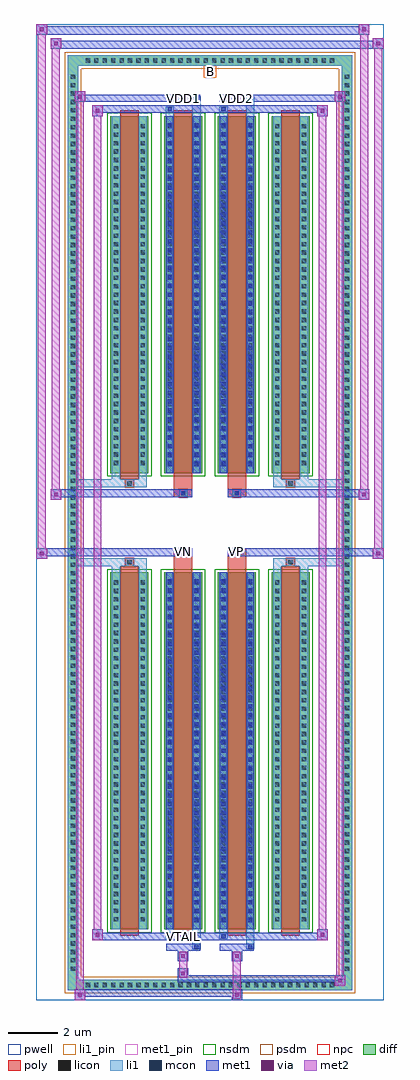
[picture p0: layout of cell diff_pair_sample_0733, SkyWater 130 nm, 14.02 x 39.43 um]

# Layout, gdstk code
import gdstk
lib = gdstk.Library(unit=1e-6, precision=5e-09)
def R(c, l, rs):  # rectangles x0, y0, x1, y1
    for r in rs: c.add(gdstk.rectangle(r[:2], r[2:], *l))
def A(c, l, x, y, w, h, nx, ny, dx, dy):  # array of equal rectangles
    R(c, l, [(x+i*dx, y+j*dy, x+i*dx+w, y+j*dy+h) for i in range(nx) for j in range(ny)])
def P(c, l, *ps):  # polygons
    for p in ps: c.add(gdstk.Polygon(p, *l))
pwell = (64, 44)
diff = (65, 20)
poly = (66, 20)
licon = (66, 44)
li1_pin = (67, 16)
li1 = (67, 20)
mcon = (67, 44)
met1_pin = (68, 16)
met1 = (68, 20)
via = (68, 44)
met2 = (69, 20)
nsdm = (93, 44)
psdm = (94, 20)
npc = (95, 20)

diff_pair_sample_0733 = lib.new_cell('diff_pair_sample_0733')
R(diff_pair_sample_0733, pwell, [(-7.01,-19.28,7.01,20.15), (-4.33,-17.47,-0.01,-0.825), (0.01,-17.47,4.33,-0.825), (-4.33,0.825,-0.01,17.47), (0.01,0.825,4.33,17.47)])
A(diff_pair_sample_0733, diff, -5.135, -18.88, 0.41, 0.41, 30, 2, 0.34, 37.35)
A(diff_pair_sample_0733, diff, -5.74, -18.225, 0.41, 0.41, 1, 107, 0, 0.34)
A(diff_pair_sample_0733, diff, 5.33, -18.225, 0.41, 0.41, 1, 107, 0, 0.34)
A(diff_pair_sample_0733, diff, -4.02, -16.425, 1.53, 14.42, 4, 2, 2.17, 18.43)
R(diff_pair_sample_0733, diff, [(-5.135,-18.88,5.135,-18.47), (-5.74,-18.225,-5.33,18.225), (5.33,-18.225,5.74,18.225), (-5.135,18.47,5.135,18.88)])
P(diff_pair_sample_0733, diff, [(5.74,18.88),(-5.74,18.88),(-5.74,-18.47),(-5.33,-18.47),(-5.33,18.47),(5.33,18.47),(5.33,-18.47),(-5.33,-18.47),(-5.74,-18.47),(-5.74,-18.88),(5.74,-18.88)])
A(diff_pair_sample_0733, poly, -3.63, -16.675, 0.75, 14.92, 4, 2, 2.17, 18.43)
R(diff_pair_sample_0733, poly, [(-3.42,-1.755,-3.09,-1.425), (-3.42,-1.755,-3.09,-1.425), (-1.46,-1.755,-0.71,-1.355), (0.71,-1.755,1.46,-1.355), (3.09,-1.755,3.42,-1.425), (3.09,-1.755,3.42,-1.425), (-1.46,-1.355,-0.71,-1.025), (-1.25,-1.355,-0.92,-1.025), (0.71,-1.355,1.46,-1.025), (0.92,-1.355,1.25,-1.025), (-1.46,1.025,-0.71,1.355), (-1.25,1.025,-0.92,1.355), (0.71,1.025,1.46,1.355), (0.92,1.025,1.25,1.355), (-1.46,1.355,-0.71,1.755), (0.71,1.355,1.46,1.755), (-3.42,1.425,-3.09,1.755), (-3.42,1.425,-3.09,1.755), (3.09,1.425,3.42,1.755), (3.09,1.425,3.42,1.755)])
A(diff_pair_sample_0733, licon, -5.015, -18.76, 0.17, 0.17, 30, 2, 0.34, 37.35)
A(diff_pair_sample_0733, licon, -5.62, -18.105, 0.17, 0.17, 1, 107, 0, 0.34)
A(diff_pair_sample_0733, licon, 5.45, -18.105, 0.17, 0.17, 1, 107, 0, 0.34)
A(diff_pair_sample_0733, licon, -3.88, -16.1, 0.17, 0.17, 1, 41, 0, 0.34)
A(diff_pair_sample_0733, licon, -2.8, -16.1, 0.17, 0.17, 1, 41, 0, 0.34)
A(diff_pair_sample_0733, licon, -1.71, -16.1, 0.17, 0.17, 1, 41, 0, 0.34)
A(diff_pair_sample_0733, licon, -0.63, -16.1, 0.17, 0.17, 1, 41, 0, 0.34)
A(diff_pair_sample_0733, licon, 0.46, -16.1, 0.17, 0.17, 1, 41, 0, 0.34)
A(diff_pair_sample_0733, licon, 1.54, -16.1, 0.17, 0.17, 1, 41, 0, 0.34)
A(diff_pair_sample_0733, licon, 2.63, -16.1, 0.17, 0.17, 1, 41, 0, 0.34)
A(diff_pair_sample_0733, licon, 3.71, -16.1, 0.17, 0.17, 1, 41, 0, 0.34)
A(diff_pair_sample_0733, licon, -3.88, 2.33, 0.17, 0.17, 1, 41, 0, 0.34)
A(diff_pair_sample_0733, licon, -2.8, 2.33, 0.17, 0.17, 1, 41, 0, 0.34)
A(diff_pair_sample_0733, licon, -1.71, 2.33, 0.17, 0.17, 1, 41, 0, 0.34)
A(diff_pair_sample_0733, licon, -0.63, 2.33, 0.17, 0.17, 1, 41, 0, 0.34)
A(diff_pair_sample_0733, licon, 0.46, 2.33, 0.17, 0.17, 1, 41, 0, 0.34)
A(diff_pair_sample_0733, licon, 1.54, 2.33, 0.17, 0.17, 1, 41, 0, 0.34)
A(diff_pair_sample_0733, licon, 2.63, 2.33, 0.17, 0.17, 1, 41, 0, 0.34)
A(diff_pair_sample_0733, licon, 3.71, 2.33, 0.17, 0.17, 1, 41, 0, 0.34)
R(diff_pair_sample_0733, licon, [(-3.34,-1.675,-3.17,-1.505), (3.17,-1.675,3.34,-1.505), (-1.17,-1.275,-1,-1.105), (1,-1.275,1.17,-1.105), (-1.17,1.105,-1,1.275), (1,1.105,1.17,1.275), (-3.34,1.505,-3.17,1.675), (3.17,1.505,3.34,1.675)])
R(diff_pair_sample_0733, li1_pin, [(-0.25,17.97,0.25,18.47)])
A(diff_pair_sample_0733, li1, -5.095, -18.84, 0.33, 0.33, 30, 2, 0.34, 37.35)
A(diff_pair_sample_0733, li1, -5.7, -18.185, 0.33, 0.33, 1, 107, 0, 0.34)
A(diff_pair_sample_0733, li1, 5.37, -18.185, 0.33, 0.33, 1, 107, 0, 0.34)
A(diff_pair_sample_0733, li1, -3.96, -16.18, 0.33, 0.33, 1, 41, 0, 0.34)
A(diff_pair_sample_0733, li1, -2.88, -16.18, 0.33, 0.33, 1, 41, 0, 0.34)
A(diff_pair_sample_0733, li1, -1.79, -16.18, 0.33, 0.33, 1, 41, 0, 0.34)
A(diff_pair_sample_0733, li1, -0.71, -16.18, 0.33, 0.33, 1, 41, 0, 0.34)
A(diff_pair_sample_0733, li1, 0.38, -16.18, 0.33, 0.33, 1, 41, 0, 0.34)
A(diff_pair_sample_0733, li1, 1.46, -16.18, 0.33, 0.33, 1, 41, 0, 0.34)
A(diff_pair_sample_0733, li1, 2.55, -16.18, 0.33, 0.33, 1, 41, 0, 0.34)
A(diff_pair_sample_0733, li1, 3.63, -16.18, 0.33, 0.33, 1, 41, 0, 0.34)
A(diff_pair_sample_0733, li1, -1.71, -16.14, 0.17, 0.17, 1, 39, 0, 0.36)
A(diff_pair_sample_0733, li1, -0.63, -16.14, 0.17, 0.17, 1, 39, 0, 0.36)
A(diff_pair_sample_0733, li1, 0.46, -16.14, 0.17, 0.17, 1, 39, 0, 0.36)
A(diff_pair_sample_0733, li1, 1.54, -16.14, 0.17, 0.17, 1, 39, 0, 0.36)
A(diff_pair_sample_0733, li1, -3.96, 2.25, 0.33, 0.33, 1, 41, 0, 0.34)
A(diff_pair_sample_0733, li1, -2.88, 2.25, 0.33, 0.33, 1, 41, 0, 0.34)
A(diff_pair_sample_0733, li1, -1.79, 2.25, 0.33, 0.33, 1, 41, 0, 0.34)
A(diff_pair_sample_0733, li1, -0.71, 2.25, 0.33, 0.33, 1, 41, 0, 0.34)
A(diff_pair_sample_0733, li1, 0.38, 2.25, 0.33, 0.33, 1, 41, 0, 0.34)
A(diff_pair_sample_0733, li1, 1.46, 2.25, 0.33, 0.33, 1, 41, 0, 0.34)
A(diff_pair_sample_0733, li1, 2.55, 2.25, 0.33, 0.33, 1, 41, 0, 0.34)
A(diff_pair_sample_0733, li1, 3.63, 2.25, 0.33, 0.33, 1, 41, 0, 0.34)
A(diff_pair_sample_0733, li1, -1.71, 2.29, 0.17, 0.17, 1, 39, 0, 0.36)
A(diff_pair_sample_0733, li1, -0.63, 2.29, 0.17, 0.17, 1, 39, 0, 0.36)
A(diff_pair_sample_0733, li1, 0.46, 2.29, 0.17, 0.17, 1, 39, 0, 0.36)
A(diff_pair_sample_0733, li1, 1.54, 2.29, 0.17, 0.17, 1, 39, 0, 0.36)
R(diff_pair_sample_0733, li1, [(-5.74,-18.88,-5.33,-18.47), (-5.74,-18.88,-5.33,-18.47), (-5.33,-18.88,5.33,-18.47), (5.33,-18.88,5.74,-18.47), (5.33,-18.88,5.74,-18.47), (-5.74,-18.47,-5.33,18.47), (5.33,-18.47,5.74,18.47), (-0.71,-17.23,-0.38,-16.425), (-0.63,-17.23,-0.46,-17.06), (1.46,-17.23,1.79,-16.425), (1.54,-17.23,1.71,-17.06), (-1.79,-16.8,-1.46,-16.425), (-1.71,-16.8,-1.54,-16.63), (0.38,-16.8,0.71,-16.425), (0.46,-16.8,0.63,-16.63), (-3.96,-16.425,-3.63,-2.005), (-2.88,-16.425,-2.55,-2.005), (-1.79,-16.425,-1.46,-2.005), (-0.71,-16.425,-0.38,-2.005), (0.38,-16.425,0.71,-2.005), (1.46,-16.425,1.79,-2.005), (2.55,-16.425,2.88,-2.005), (3.63,-16.425,3.96,-2.005), (-1.71,-16.14,-1.54,-2.29), (-0.63,-16.14,-0.46,-2.29), (0.46,-16.14,0.63,-2.29), (1.54,-16.14,1.71,-2.29), (-3.96,-2.005,-3.63,-1.425), (-2.88,-2.005,-2.55,-1.425), (2.55,-2.005,2.88,-1.425), (3.63,-2.005,3.96,-1.425), (-5.74,-1.755,-3.42,-1.425), (-3.96,-1.755,-3.42,-1.425), (-3.42,-1.755,-3.09,-1.425), (-3.09,-1.755,-2.55,-1.425), (2.55,-1.755,3.09,-1.425), (3.09,-1.755,3.42,-1.425), (3.09,-1.755,5.74,-1.425), (3.42,-1.755,3.96,-1.425), (-1.25,-1.355,-0.92,-1.025), (0.92,-1.355,1.25,-1.025), (-1.25,1.025,-0.92,1.355), (0.92,1.025,1.25,1.355), (-5.74,1.425,-3.42,1.755), (-3.96,1.425,-3.42,1.755), (-3.96,1.425,-3.63,2.005), (-3.42,1.425,-3.09,1.755), (-3.09,1.425,-2.55,1.755), (-2.88,1.425,-2.55,2.005), (2.55,1.425,3.09,1.755), (2.55,1.425,2.88,2.005), (3.09,1.425,3.42,1.755), (3.09,1.425,5.74,1.755), (3.42,1.425,3.96,1.755), (3.63,1.425,3.96,2.005), (-3.96,2.005,-3.63,16.425), (-2.88,2.005,-2.55,16.425), (-1.79,2.005,-1.46,16.425), (-0.71,2.005,-0.38,16.425), (0.38,2.005,0.71,16.425), (1.46,2.005,1.79,16.425), (2.55,2.005,2.88,16.425), (3.63,2.005,3.96,16.425), (-1.71,2.29,-1.54,16.14), (-0.63,2.29,-0.46,16.14), (0.46,2.29,0.63,16.14), (1.54,2.29,1.71,16.14), (-1.79,16.425,-1.46,16.8), (-0.71,16.425,-0.38,17.23), (0.38,16.425,0.71,16.8), (1.46,16.425,1.79,17.23), (-1.71,16.63,-1.54,16.8), (0.46,16.63,0.63,16.8), (-0.63,17.06,-0.46,17.23), (1.54,17.06,1.71,17.23), (-5.74,18.47,-5.33,18.88), (-5.74,18.47,-5.33,18.88), (-5.33,18.47,5.33,18.88), (5.33,18.47,5.74,18.88), (5.33,18.47,5.74,18.88)])
A(diff_pair_sample_0733, mcon, -1.71, -16.14, 0.17, 0.17, 1, 39, 0, 0.36)
A(diff_pair_sample_0733, mcon, -0.63, -16.14, 0.17, 0.17, 1, 39, 0, 0.36)
A(diff_pair_sample_0733, mcon, 0.46, -16.14, 0.17, 0.17, 1, 39, 0, 0.36)
A(diff_pair_sample_0733, mcon, 1.54, -16.14, 0.17, 0.17, 1, 39, 0, 0.36)
A(diff_pair_sample_0733, mcon, -1.71, 2.29, 0.17, 0.17, 1, 39, 0, 0.36)
A(diff_pair_sample_0733, mcon, -0.63, 2.29, 0.17, 0.17, 1, 39, 0, 0.36)
A(diff_pair_sample_0733, mcon, 0.46, 2.29, 0.17, 0.17, 1, 39, 0, 0.36)
A(diff_pair_sample_0733, mcon, 1.54, 2.29, 0.17, 0.17, 1, 39, 0, 0.36)
R(diff_pair_sample_0733, mcon, [(-0.63,-17.23,-0.46,-17.06), (1.54,-17.23,1.71,-17.06), (-1.71,-16.8,-1.54,-16.63), (0.46,-16.8,0.63,-16.63), (-1.17,-1.275,-1,-1.105), (1,-1.275,1.17,-1.105), (-1.17,1.105,-1,1.275), (1,1.105,1.17,1.275), (-1.71,16.63,-1.54,16.8), (0.46,16.63,0.63,16.8), (-0.63,17.06,-0.46,17.23), (1.54,17.06,1.71,17.23)])
R(diff_pair_sample_0733, met1_pin, [(-1.22,-16.84,-0.95,-16.57), (-1.22,-1.295,-0.95,-1.025), (0.95,-1.295,1.22,-1.025), (-1.22,17.02,-0.95,17.29), (0.95,17.02,1.22,17.29)])
A(diff_pair_sample_0733, met1, -1.77, -16.2, 0.29, 0.29, 1, 39, 0, 0.36)
A(diff_pair_sample_0733, met1, -0.69, -16.2, 0.29, 0.29, 1, 39, 0, 0.36)
A(diff_pair_sample_0733, met1, 0.4, -16.2, 0.29, 0.29, 1, 39, 0, 0.36)
A(diff_pair_sample_0733, met1, 1.48, -16.2, 0.29, 0.29, 1, 39, 0, 0.36)
A(diff_pair_sample_0733, met1, -1.77, 2.23, 0.29, 0.29, 1, 39, 0, 0.36)
A(diff_pair_sample_0733, met1, -0.69, 2.23, 0.29, 0.29, 1, 39, 0, 0.36)
A(diff_pair_sample_0733, met1, 0.4, 2.23, 0.29, 0.29, 1, 39, 0, 0.36)
A(diff_pair_sample_0733, met1, 1.48, 2.23, 0.29, 0.29, 1, 39, 0, 0.36)
R(diff_pair_sample_0733, met1, [(-5.47,-19.28,-5.04,-18.85), (0.87,-19.28,1.3,-18.85), (-5.47,-19.14,1.3,-18.85), (5.04,-18.71,5.47,-18.28), (-1.3,-18.57,5.47,-18.28), (-1.3,-18.43,-0.87,-18), (-1.3,-17.72,-0.87,-17.29), (0.87,-17.72,1.3,-17.29), (-1.77,-17.29,-0.4,-17), (-0.69,-17.29,-0.4,-17), (0.4,-17.29,1.77,-17), (1.48,-17.29,1.77,-17), (-4.76,-16.86,-4.33,-16.43), (-4.76,-16.86,-1.77,-16.57), (-1.77,-16.86,-1.48,-16.57), (-1.77,-16.86,-0.4,-16.57), (-0.4,-16.86,0.4,-16.57), (0.4,-16.86,0.69,-16.57), (0.4,-16.86,1.77,-16.57), (1.77,-16.86,4.76,-16.57), (4.33,-16.86,4.76,-16.43), (-1.77,-16.425,-1.48,-2.005), (-0.69,-16.425,-0.4,-2.005), (0.4,-16.425,0.69,-2.005), (1.48,-16.425,1.77,-2.005), (-7.01,-1.455,-6.58,-1.025), (6.58,-1.455,7.01,-1.025), (-7.01,-1.355,-0.71,-1.025), (-1.46,-1.355,-0.71,-1.025), (0.71,-1.355,1.46,-1.025), (0.71,-1.355,7.01,-1.025), (-1.23,-1.335,-0.94,-1.045), (0.94,-1.335,1.23,-1.045), (-6.44,0.925,-6.01,1.355), (6.01,0.925,6.44,1.355), (-6.44,1.025,-1.46,1.355), (-1.46,1.025,-0.71,1.355), (0.71,1.025,1.46,1.355), (1.46,1.025,6.44,1.355), (-1.23,1.045,-0.94,1.335), (0.94,1.045,1.23,1.335), (-1.77,2.005,-1.48,16.425), (-0.69,2.005,-0.4,16.425), (0.4,2.005,0.69,16.425), (1.48,2.005,1.77,16.425), (-4.76,16.43,-4.33,16.86), (4.33,16.43,4.76,16.86), (-4.76,16.57,-1.77,16.86), (-1.77,16.57,-1.48,16.86), (-1.77,16.57,-0.4,16.86), (-0.4,16.57,0.4,16.86), (0.4,16.57,0.69,16.86), (0.4,16.57,1.77,16.86), (1.77,16.57,4.76,16.86), (-5.47,17,-5.04,17.43), (-5.47,17,-1.77,17.29), (-1.77,17,-0.4,17.29), (-0.69,17,-0.4,17.29), (0.4,17,1.77,17.29), (1.48,17,1.77,17.29), (1.77,17,5.47,17.29), (5.04,17,5.47,17.43), (-6.44,19.15,-6.01,19.58), (-6.44,19.15,-4.33,19.48), (-4.33,19.15,4.33,19.48), (4.33,19.15,7.01,19.48), (6.58,19.15,7.01,19.58), (-7.01,19.72,-6.58,20.15), (-7.01,19.72,-4.33,20.05), (-4.33,19.72,4.33,20.05), (4.33,19.72,6.44,20.05), (6.01,19.72,6.44,20.15)])
R(diff_pair_sample_0733, via, [(-5.33,-19.14,-5.18,-18.99), (1.01,-19.14,1.16,-18.99), (5.18,-18.57,5.33,-18.42), (-1.16,-18.29,-1.01,-18.14), (-1.16,-17.58,-1.01,-17.43), (1.01,-17.58,1.16,-17.43), (-4.62,-16.72,-4.47,-16.57), (4.47,-16.72,4.62,-16.57), (-6.87,-1.315,-6.72,-1.165), (6.72,-1.315,6.87,-1.165), (-6.3,1.065,-6.15,1.215), (6.15,1.065,6.3,1.215), (-4.62,16.57,-4.47,16.72), (4.47,16.57,4.62,16.72), (-5.33,17.14,-5.18,17.29), (5.18,17.14,5.33,17.29), (-6.3,19.29,-6.15,19.44), (6.72,19.29,6.87,19.44), (-6.87,19.86,-6.72,20.01), (6.15,19.86,6.3,20.01)])
R(diff_pair_sample_0733, met2, [(-5.47,-19.28,-5.04,-18.85), (-5.4,-19.28,-5.11,17.43), (-5.11,-19.28,-5.04,-18.85), (-5.42,-19.23,-5.09,-18.9), (0.92,-19.23,1.25,-18.9), (0.92,-18.9,1.25,-17.67), (5.04,-18.71,5.47,-18.28), (5.11,-18.71,5.4,17.43), (5.4,-18.71,5.47,-18.28), (5.09,-18.66,5.42,-18.33), (-1.25,-18.38,-0.92,-18.05), (-1.25,-18.05,-0.92,-17.67), (-1.25,-17.67,-0.92,-17.34), (0.92,-17.67,1.25,-17.34), (-4.76,-16.86,-4.33,-16.43), (-4.69,-16.86,-4.4,16.86), (-4.4,-16.86,-4.33,-16.43), (4.33,-16.86,4.76,-16.43), (4.4,-16.86,4.69,16.86), (4.69,-16.86,4.76,-16.43), (-4.71,-16.81,-4.38,-16.48), (4.38,-16.81,4.71,-16.48), (-7.01,-1.455,-6.58,-1.025), (-6.96,-1.455,-6.63,20.15), (-6.63,-1.455,-6.58,-1.025), (6.58,-1.455,7.01,-1.025), (6.63,-1.455,6.96,19.58), (6.96,-1.455,7.01,-1.025), (-6.96,-1.405,-6.63,-1.075), (6.63,-1.405,6.96,-1.075), (-6.44,0.925,-6.01,1.355), (-6.39,0.925,-6.06,19.58), (-6.06,0.925,-6.01,1.355), (6.01,0.925,6.44,1.355), (6.06,0.925,6.39,20.15), (6.39,0.925,6.44,1.355), (-6.39,0.975,-6.06,1.305), (6.06,0.975,6.39,1.305), (-4.76,16.43,-4.33,16.86), (-4.4,16.43,-4.33,16.86), (4.33,16.43,4.76,16.86), (4.69,16.43,4.76,16.86), (-4.71,16.48,-4.38,16.81), (4.38,16.48,4.71,16.81), (-5.47,17,-5.04,17.43), (-5.11,17,-5.04,17.43), (5.04,17,5.47,17.43), (5.4,17,5.47,17.43), (-5.42,17.05,-5.09,17.38), (5.09,17.05,5.42,17.38), (-6.44,19.15,-6.01,19.58), (-6.06,19.15,-6.01,19.58), (6.58,19.15,7.01,19.58), (6.96,19.15,7.01,19.58), (-6.39,19.2,-6.06,19.53), (6.63,19.2,6.96,19.53), (-7.01,19.72,-6.58,20.15), (-6.63,19.72,-6.58,20.15), (6.01,19.72,6.44,20.15), (6.39,19.72,6.44,20.15), (-6.96,19.77,-6.63,20.1), (6.06,19.77,6.39,20.1)])
A(diff_pair_sample_0733, nsdm, -4.15, -16.555, 1.79, 14.68, 4, 2, 2.17, 18.43)
P(diff_pair_sample_0733, psdm, [(5.87,19.01),(-5.87,19.01),(-5.87,-18.34),(-5.2,-18.34),(-5.2,18.34),(5.2,18.34),(5.2,-18.34),(-5.2,-18.34),(-5.87,-18.34),(-5.87,-19.01),(5.87,-19.01)])
R(diff_pair_sample_0733, npc, [(-3.44,-1.775,-3.07,-1.405), (3.07,-1.775,3.44,-1.405), (-1.27,-1.375,-0.9,-1.005), (0.9,-1.375,1.27,-1.005), (-1.27,1.005,-0.9,1.375), (0.9,1.005,1.27,1.375), (-3.44,1.405,-3.07,1.775), (3.07,1.405,3.44,1.775)])
diff_pair_sample_0733.add(gdstk.Label('VTAIL', (-1.085,-16.705), layer=68, texttype=5))
diff_pair_sample_0733.add(gdstk.Label('VN', (-1.085,-1.16), layer=68, texttype=5))
diff_pair_sample_0733.add(gdstk.Label('VP', (1.085,-1.16), layer=68, texttype=5))
diff_pair_sample_0733.add(gdstk.Label('B', (0,18.22), layer=67, texttype=5))
diff_pair_sample_0733.add(gdstk.Label('VDD2', (1.085,17.155), layer=68, texttype=5))
diff_pair_sample_0733.add(gdstk.Label('VDD1', (-1.085,17.155), layer=68, texttype=5))

lib.write_gds('diff_pair_sample_0733.gds')
